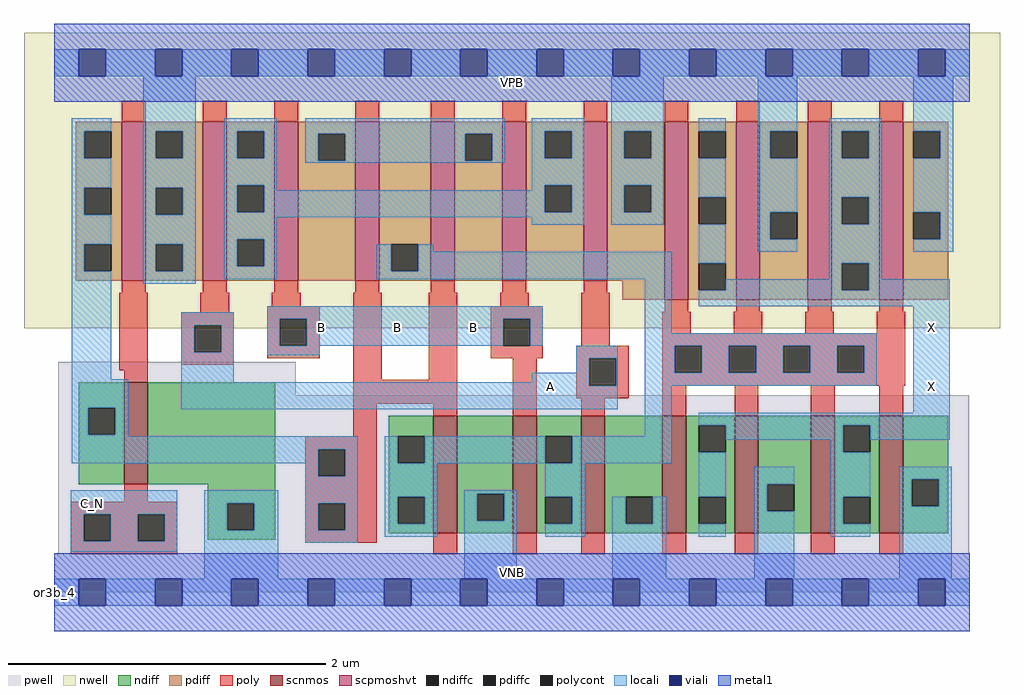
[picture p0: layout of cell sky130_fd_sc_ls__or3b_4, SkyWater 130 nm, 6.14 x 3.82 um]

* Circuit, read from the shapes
.subckt sky130_fd_sc_ls__or3b_4 A B C_N VGND VNB VPB VPWR X
XM1 VGND C_N n1 VNB sky130_fd_pr__nfet_01v8 w=0.64 l=0.15
XM2 VGND n1 n2 VNB sky130_fd_pr__nfet_01v8 w=0.74 l=0.15
XM3 n2 B VGND VNB sky130_fd_pr__nfet_01v8 w=0.74 l=0.15
XM4 VGND A n2 VNB sky130_fd_pr__nfet_01v8 w=0.74 l=0.15
XM5 X n2 VGND VNB sky130_fd_pr__nfet_01v8 w=0.74 l=0.15 m=4
XM6 VPWR C_N n1 VPB sky130_fd_pr__pfet_01v8_hvt w=1 l=0.15
XM7 n3 A VPWR VPB sky130_fd_pr__pfet_01v8_hvt w=1 l=0.15 m=2
XM8 n4 B n3 VPB sky130_fd_pr__pfet_01v8_hvt w=1 l=0.15 m=2
XM9 n2 n1 n4 VPB sky130_fd_pr__pfet_01v8_hvt w=1 l=0.15 m=2
XM10 X n2 VPWR VPB sky130_fd_pr__pfet_01v8_hvt w=1.12 l=0.15 m=4
.ends

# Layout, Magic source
magic
tech sky130A
magscale 1 2
<< nwell >>
rect -38 332 1190 704
<< pwell >>
rect 5 248 304 290
rect 5 49 1151 248
rect 0 0 1152 49
<< scnmos >>
rect 88 136 118 264
rect 477 74 507 222
rect 577 74 607 222
rect 663 74 693 222
rect 765 74 795 222
rect 856 74 886 222
rect 952 74 982 222
rect 1038 74 1068 222
<< scpmoshvt >>
rect 85 392 115 592
rect 187 392 217 592
rect 277 392 307 592
rect 379 392 409 592
rect 474 392 504 592
rect 564 392 594 592
rect 666 392 696 592
rect 768 368 798 592
rect 858 368 888 592
rect 948 368 978 592
rect 1038 368 1068 592
<< ndiff >>
rect 31 232 88 264
rect 31 198 43 232
rect 77 198 88 232
rect 31 136 88 198
rect 118 136 278 264
rect 193 112 278 136
rect 193 78 218 112
rect 252 78 278 112
rect 193 66 278 78
rect 421 196 477 222
rect 421 162 432 196
rect 466 162 477 196
rect 421 120 477 162
rect 421 86 432 120
rect 466 86 477 120
rect 421 74 477 86
rect 507 124 577 222
rect 507 90 532 124
rect 566 90 577 124
rect 507 74 577 90
rect 607 196 663 222
rect 607 162 618 196
rect 652 162 663 196
rect 607 120 663 162
rect 607 86 618 120
rect 652 86 663 120
rect 607 74 663 86
rect 693 120 765 222
rect 693 86 719 120
rect 753 86 765 120
rect 693 74 765 86
rect 795 210 856 222
rect 795 176 811 210
rect 845 176 856 210
rect 795 120 856 176
rect 795 86 811 120
rect 845 86 856 120
rect 795 74 856 86
rect 886 136 952 222
rect 886 102 897 136
rect 931 102 952 136
rect 886 74 952 102
rect 982 210 1038 222
rect 982 176 993 210
rect 1027 176 1038 210
rect 982 120 1038 176
rect 982 86 993 120
rect 1027 86 1038 120
rect 982 74 1038 86
rect 1068 142 1125 222
rect 1068 108 1079 142
rect 1113 108 1125 142
rect 1068 74 1125 108
<< pdiff >>
rect 27 580 85 592
rect 27 546 38 580
rect 72 546 85 580
rect 27 509 85 546
rect 27 475 38 509
rect 72 475 85 509
rect 27 438 85 475
rect 27 404 38 438
rect 72 404 85 438
rect 27 392 85 404
rect 115 580 187 592
rect 115 546 128 580
rect 162 546 187 580
rect 115 509 187 546
rect 115 475 128 509
rect 162 475 187 509
rect 115 438 187 475
rect 115 404 128 438
rect 162 404 187 438
rect 115 392 187 404
rect 217 580 277 592
rect 217 546 230 580
rect 264 546 277 580
rect 217 512 277 546
rect 217 478 230 512
rect 264 478 277 512
rect 217 444 277 478
rect 217 410 230 444
rect 264 410 277 444
rect 217 392 277 410
rect 307 577 379 592
rect 307 543 332 577
rect 366 543 379 577
rect 307 392 379 543
rect 409 438 474 592
rect 409 404 424 438
rect 458 404 474 438
rect 409 392 474 404
rect 504 577 564 592
rect 504 543 517 577
rect 551 543 564 577
rect 504 392 564 543
rect 594 580 666 592
rect 594 546 617 580
rect 651 546 666 580
rect 594 512 666 546
rect 594 478 617 512
rect 651 478 666 512
rect 594 392 666 478
rect 696 580 768 592
rect 696 546 717 580
rect 751 546 768 580
rect 696 512 768 546
rect 696 478 717 512
rect 751 478 768 512
rect 696 392 768 478
rect 715 368 768 392
rect 798 580 858 592
rect 798 546 811 580
rect 845 546 858 580
rect 798 497 858 546
rect 798 463 811 497
rect 845 463 858 497
rect 798 414 858 463
rect 798 380 811 414
rect 845 380 858 414
rect 798 368 858 380
rect 888 580 948 592
rect 888 546 901 580
rect 935 546 948 580
rect 888 478 948 546
rect 888 444 901 478
rect 935 444 948 478
rect 888 368 948 444
rect 978 580 1038 592
rect 978 546 991 580
rect 1025 546 1038 580
rect 978 497 1038 546
rect 978 463 991 497
rect 1025 463 1038 497
rect 978 414 1038 463
rect 978 380 991 414
rect 1025 380 1038 414
rect 978 368 1038 380
rect 1068 580 1125 592
rect 1068 546 1081 580
rect 1115 546 1125 580
rect 1068 478 1125 546
rect 1068 444 1081 478
rect 1115 444 1125 478
rect 1068 368 1125 444
<< ndiffc >>
rect 43 198 77 232
rect 218 78 252 112
rect 432 162 466 196
rect 432 86 466 120
rect 532 90 566 124
rect 618 162 652 196
rect 618 86 652 120
rect 719 86 753 120
rect 811 176 845 210
rect 811 86 845 120
rect 897 102 931 136
rect 993 176 1027 210
rect 993 86 1027 120
rect 1079 108 1113 142
<< pdiffc >>
rect 38 546 72 580
rect 38 475 72 509
rect 38 404 72 438
rect 128 546 162 580
rect 128 475 162 509
rect 128 404 162 438
rect 230 546 264 580
rect 230 478 264 512
rect 230 410 264 444
rect 332 543 366 577
rect 424 404 458 438
rect 517 543 551 577
rect 617 546 651 580
rect 617 478 651 512
rect 717 546 751 580
rect 717 478 751 512
rect 811 546 845 580
rect 811 463 845 497
rect 811 380 845 414
rect 901 546 935 580
rect 901 444 935 478
rect 991 546 1025 580
rect 991 463 1025 497
rect 991 380 1025 414
rect 1081 546 1115 580
rect 1081 444 1115 478
<< poly >>
rect 85 592 115 618
rect 187 592 217 618
rect 277 592 307 618
rect 379 592 409 618
rect 474 592 504 618
rect 564 592 594 618
rect 666 592 696 618
rect 768 592 798 618
rect 858 592 888 618
rect 948 592 978 618
rect 1038 592 1068 618
rect 85 377 115 392
rect 187 377 217 392
rect 277 377 307 392
rect 379 377 409 392
rect 474 377 504 392
rect 564 377 594 392
rect 666 377 696 392
rect 82 279 118 377
rect 184 352 220 377
rect 274 360 310 377
rect 160 336 226 352
rect 160 302 176 336
rect 210 302 226 336
rect 160 286 226 302
rect 268 344 334 360
rect 268 310 284 344
rect 318 310 334 344
rect 268 294 334 310
rect 88 264 118 279
rect 376 267 412 377
rect 471 267 507 377
rect 561 360 597 377
rect 549 344 615 360
rect 549 310 565 344
rect 599 310 615 344
rect 663 310 699 377
rect 768 353 798 368
rect 858 353 888 368
rect 948 353 978 368
rect 1038 353 1068 368
rect 765 326 801 353
rect 855 326 891 353
rect 945 326 981 353
rect 1035 326 1071 353
rect 765 310 1071 326
rect 549 294 615 310
rect 657 294 723 310
rect 376 237 507 267
rect 376 196 406 237
rect 477 222 507 237
rect 577 222 607 294
rect 657 260 673 294
rect 707 260 723 294
rect 657 244 723 260
rect 765 276 781 310
rect 815 276 849 310
rect 883 276 917 310
rect 951 276 985 310
rect 1019 276 1071 310
rect 765 260 1071 276
rect 663 222 693 244
rect 765 222 795 260
rect 856 222 886 260
rect 952 222 982 260
rect 1038 222 1068 260
rect 88 114 118 136
rect 21 98 155 114
rect 21 64 37 98
rect 71 64 105 98
rect 139 64 155 98
rect 316 180 406 196
rect 316 146 332 180
rect 366 146 406 180
rect 316 112 406 146
rect 316 78 332 112
rect 366 78 406 112
rect 21 48 155 64
rect 316 62 406 78
rect 477 48 507 74
rect 577 48 607 74
rect 663 48 693 74
rect 765 48 795 74
rect 856 48 886 74
rect 952 48 982 74
rect 1038 48 1068 74
<< polycont >>
rect 176 302 210 336
rect 284 310 318 344
rect 565 310 599 344
rect 673 260 707 294
rect 781 276 815 310
rect 849 276 883 310
rect 917 276 951 310
rect 985 276 1019 310
rect 37 64 71 98
rect 105 64 139 98
rect 332 146 366 180
rect 332 78 366 112
<< locali >>
rect 0 649 31 683
rect 65 649 127 683
rect 161 649 223 683
rect 257 649 319 683
rect 353 649 415 683
rect 449 649 511 683
rect 545 649 607 683
rect 641 649 703 683
rect 737 649 799 683
rect 833 649 895 683
rect 929 649 991 683
rect 1025 649 1087 683
rect 1121 649 1152 683
rect 22 580 72 596
rect 22 546 38 580
rect 22 509 72 546
rect 22 475 38 509
rect 22 438 72 475
rect 22 404 38 438
rect 22 268 72 404
rect 112 580 178 649
rect 112 546 128 580
rect 162 546 178 580
rect 112 509 178 546
rect 112 475 128 509
rect 162 475 178 509
rect 112 438 178 475
rect 112 404 128 438
rect 162 404 178 438
rect 112 388 178 404
rect 214 580 280 596
rect 214 546 230 580
rect 264 546 280 580
rect 214 512 280 546
rect 316 577 567 596
rect 316 543 332 577
rect 366 543 517 577
rect 551 543 567 577
rect 316 540 567 543
rect 601 580 667 596
rect 601 546 617 580
rect 651 546 667 580
rect 214 478 230 512
rect 264 506 280 512
rect 601 512 667 546
rect 601 506 617 512
rect 264 478 617 506
rect 651 478 667 512
rect 214 472 667 478
rect 214 444 280 472
rect 601 462 667 472
rect 701 580 767 649
rect 701 546 717 580
rect 751 546 767 580
rect 701 512 767 546
rect 701 478 717 512
rect 751 478 767 512
rect 701 462 767 478
rect 811 580 845 596
rect 811 497 845 546
rect 214 410 230 444
rect 264 410 280 444
rect 214 394 280 410
rect 406 404 424 438
rect 458 428 477 438
rect 458 404 777 428
rect 406 394 777 404
rect 160 336 226 352
rect 160 302 176 336
rect 210 302 226 336
rect 22 232 93 268
rect 22 198 43 232
rect 77 198 93 232
rect 160 264 226 302
rect 268 344 615 360
rect 268 310 284 344
rect 318 310 565 344
rect 599 310 615 344
rect 743 326 777 394
rect 811 414 845 463
rect 885 580 935 649
rect 885 546 901 580
rect 885 478 935 546
rect 885 444 901 478
rect 885 428 935 444
rect 975 580 1041 596
rect 975 546 991 580
rect 1025 546 1041 580
rect 975 497 1041 546
rect 975 463 991 497
rect 1025 463 1041 497
rect 975 414 1041 463
rect 1081 580 1131 649
rect 1115 546 1131 580
rect 1081 478 1131 546
rect 1115 444 1131 478
rect 1081 428 1131 444
rect 975 394 991 414
rect 845 380 991 394
rect 1025 394 1041 414
rect 1025 380 1127 394
rect 811 360 1127 380
rect 743 310 1035 326
rect 268 298 334 310
rect 657 294 709 310
rect 657 276 673 294
rect 601 264 673 276
rect 160 260 673 264
rect 707 260 709 294
rect 160 230 709 260
rect 743 276 781 310
rect 815 276 849 310
rect 883 276 917 310
rect 951 276 985 310
rect 1019 276 1035 310
rect 743 260 1035 276
rect 22 196 93 198
rect 743 196 777 260
rect 1081 226 1127 360
rect 22 180 382 196
rect 22 162 332 180
rect 316 146 332 162
rect 366 146 382 180
rect 21 98 155 128
rect 21 64 37 98
rect 71 64 105 98
rect 139 64 155 98
rect 21 51 155 64
rect 189 112 282 128
rect 189 78 218 112
rect 252 78 282 112
rect 189 17 282 78
rect 316 112 382 146
rect 316 78 332 112
rect 366 78 382 112
rect 316 62 382 78
rect 416 162 432 196
rect 466 162 618 196
rect 652 162 777 196
rect 811 210 1127 226
rect 845 192 993 210
rect 416 120 482 162
rect 416 86 432 120
rect 466 86 482 120
rect 416 70 482 86
rect 516 124 582 128
rect 516 90 532 124
rect 566 90 582 124
rect 516 17 582 90
rect 618 120 668 162
rect 811 120 845 176
rect 977 176 993 192
rect 1027 192 1127 210
rect 652 86 668 120
rect 618 70 668 86
rect 702 86 719 120
rect 753 86 770 120
rect 702 17 770 86
rect 811 70 845 86
rect 881 136 931 158
rect 881 102 897 136
rect 881 17 931 102
rect 977 120 1027 176
rect 977 86 993 120
rect 977 70 1027 86
rect 1063 142 1129 158
rect 1063 108 1079 142
rect 1113 108 1129 142
rect 1063 17 1129 108
rect 0 -17 31 17
rect 65 -17 127 17
rect 161 -17 223 17
rect 257 -17 319 17
rect 353 -17 415 17
rect 449 -17 511 17
rect 545 -17 607 17
rect 641 -17 703 17
rect 737 -17 799 17
rect 833 -17 895 17
rect 929 -17 991 17
rect 1025 -17 1087 17
rect 1121 -17 1152 17
<< viali >>
rect 31 649 65 683
rect 127 649 161 683
rect 223 649 257 683
rect 319 649 353 683
rect 415 649 449 683
rect 511 649 545 683
rect 607 649 641 683
rect 703 649 737 683
rect 799 649 833 683
rect 895 649 929 683
rect 991 649 1025 683
rect 1087 649 1121 683
rect 31 -17 65 17
rect 127 -17 161 17
rect 223 -17 257 17
rect 319 -17 353 17
rect 415 -17 449 17
rect 511 -17 545 17
rect 607 -17 641 17
rect 703 -17 737 17
rect 799 -17 833 17
rect 895 -17 929 17
rect 991 -17 1025 17
rect 1087 -17 1121 17
<< metal1 >>
rect 0 683 1152 715
rect 0 649 31 683
rect 65 649 127 683
rect 161 649 223 683
rect 257 649 319 683
rect 353 649 415 683
rect 449 649 511 683
rect 545 649 607 683
rect 641 649 703 683
rect 737 649 799 683
rect 833 649 895 683
rect 929 649 991 683
rect 1025 649 1087 683
rect 1121 649 1152 683
rect 0 617 1152 649
rect 0 17 1152 49
rect 0 -17 31 17
rect 65 -17 127 17
rect 161 -17 223 17
rect 257 -17 319 17
rect 353 -17 415 17
rect 449 -17 511 17
rect 545 -17 607 17
rect 641 -17 703 17
rect 737 -17 799 17
rect 833 -17 895 17
rect 929 -17 991 17
rect 1025 -17 1087 17
rect 1121 -17 1152 17
rect 0 -49 1152 -17
<< labels >>
rlabel comment s 0 0 0 0 4 or3b_4
flabel pwell s 0 0 1152 49 0 FreeSans 200 0 0 0 VNB
port 5 nsew ground bidirectional
flabel nwell s 0 617 1152 666 0 FreeSans 200 0 0 0 VPB
port 6 nsew power bidirectional
flabel metal1 s 0 617 1152 666 0 FreeSans 340 0 0 0 VPWR
port 7 nsew power bidirectional abutment
flabel metal1 s 0 0 1152 49 0 FreeSans 340 0 0 0 VGND
port 4 nsew ground bidirectional abutment
flabel locali s 607 242 641 276 0 FreeSans 340 0 0 0 A
port 1 nsew signal input
flabel locali s 319 316 353 350 0 FreeSans 340 0 0 0 B
port 2 nsew signal input
flabel locali s 415 316 449 350 0 FreeSans 340 0 0 0 B
port 2 nsew signal input
flabel locali s 511 316 545 350 0 FreeSans 340 0 0 0 B
port 2 nsew signal input
flabel locali s 31 94 65 128 0 FreeSans 340 0 0 0 C_N
port 3 nsew signal input
flabel locali s 1087 242 1121 276 0 FreeSans 340 0 0 0 X
port 8 nsew signal output
flabel locali s 1087 316 1121 350 0 FreeSans 340 0 0 0 X
port 8 nsew signal output
<< properties >>
string LEFsite unit
string LEFclass CORE
string FIXED_BBOX 0 0 1152 666
string GDS_FILE $PDKPATH/libs.ref/sky130_fd_sc_ls/gds/sky130_fd_sc_ls.gds
string LEFsymmetry X Y
string GDS_END 813826
string GDS_START 803666
<< end >>
